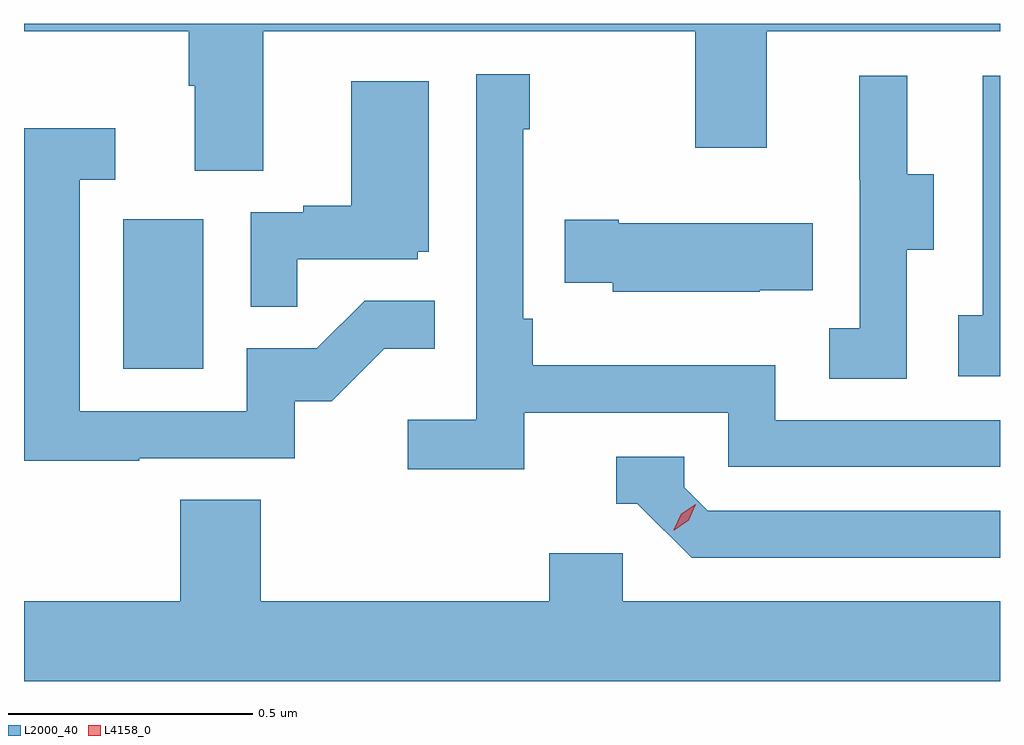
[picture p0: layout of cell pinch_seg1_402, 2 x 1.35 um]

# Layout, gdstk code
import gdstk
lib = gdstk.Library(unit=1e-6, precision=1e-09)
def R(c, l, rs):  # rectangles x0, y0, x1, y1
    for r in rs: c.add(gdstk.rectangle(r[:2], r[2:], *l))
def P(c, l, *ps):  # polygons
    for p in ps: c.add(gdstk.Polygon(p, *l))
L2000_40 = (2000, 40)
L4158_0 = (4158, 0)

pinch_seg1_402 = lib.new_cell('pinch_seg1_402')
R(pinch_seg1_402, L2000_40, [(992.714,539.052,992.878,539.359)])
P(pinch_seg1_402, L2000_40, [(993.001,539.744),(993.886,539.744),(993.886,539.505),(994.033,539.505),(994.033,539.744),(994.511,539.744),(994.511,539.759),(992.511,539.759),(992.511,539.744),(992.849,539.744),(992.849,539.632),(992.861,539.632),(992.861,539.458),(993.001,539.458)],
  [(993.536,538.962),(993.954,538.962),(993.954,538.851),(994.511,538.851),(994.511,538.947),(994.05,538.947),(994.05,539.059),(993.554,539.059),(993.554,539.155),(993.534,539.155),(993.534,539.543),(993.547,539.543),(993.547,539.656),(993.438,539.656),(993.438,538.948),(993.297,538.948),(993.297,538.846),(993.536,538.846)],
  [(994.32,539.296),(994.375,539.296),(994.375,539.451),(994.321,539.451),(994.321,539.653),(994.223,539.653),(994.223,539.439),(994.224,539.439),(994.224,539.135),(994.161,539.135),(994.161,539.032),(994.32,539.032)],
  [(994.511,539.653),(994.476,539.653),(994.476,539.162),(994.425,539.162),(994.425,539.037),(994.511,539.037)],
  [(993.071,539.277),(993.318,539.277),(993.318,539.292),(993.34,539.292),(993.34,539.641),(993.182,539.641),(993.182,539.386),(993.083,539.386),(993.083,539.373),(992.976,539.373),(992.976,539.179),(993.071,539.179)],
  [(992.747,538.869),(993.066,538.869),(993.066,538.986),(993.142,538.986),(993.249,539.093),(993.353,539.093),(993.353,539.192),(993.209,539.192),(993.111,539.094),(992.967,539.094),(992.967,538.965),(992.625,538.965),(992.625,539.439),(992.698,539.439),(992.698,539.545),(992.511,539.545),(992.511,538.864),(992.747,538.864)],
  [(994.019,539.213),(994.127,539.213),(994.127,539.35),(993.73,539.35),(993.73,539.358),(993.619,539.358),(993.619,539.228),(993.717,539.228),(993.717,539.21),(994.019,539.21)],
  [(994.511,538.761),(993.912,538.761),(993.864,538.809),(993.864,538.872),(993.725,538.872),(993.725,538.776),(993.768,538.776),(993.879,538.665),(994.511,538.665)],
  [(994.511,538.576),(993.738,538.576),(993.738,538.674),(993.587,538.674),(993.587,538.576),(992.996,538.576),(992.996,538.784),(992.831,538.784),(992.831,538.576),(992.511,538.576),(992.511,538.412),(994.511,538.412)])
P(pinch_seg1_402, L4158_0, [(993.842,538.721),(993.842,538.722),(993.858,538.755),(993.888,538.775),(993.888,538.775),(993.888,538.775),(993.873,538.742),(993.843,538.721)])

lib.write_gds('pinch_seg1_402.gds')
